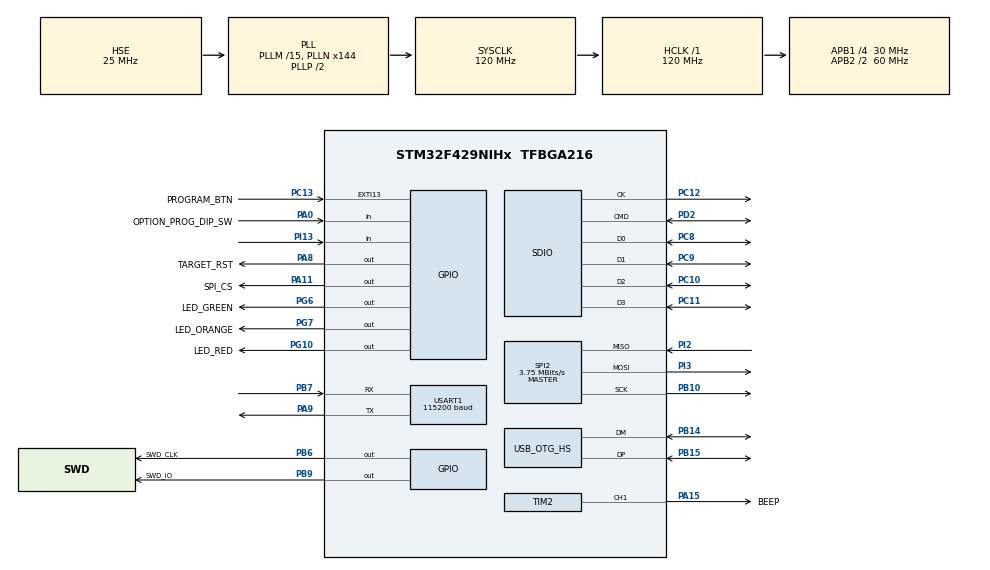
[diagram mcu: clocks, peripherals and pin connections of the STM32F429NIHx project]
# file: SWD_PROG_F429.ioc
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Dma.Request0=SDIO_RX
Dma.Request1=SDIO_TX
Dma.SDIO_RX.0.Direction=DMA_PERIPH_TO_MEMORY
Dma.SDIO_RX.0.FIFOMode=DMA_FIFOMODE_ENABLE
Dma.SDIO_RX.0.FIFOThreshold=DMA_FIFO_THRESHOLD_FULL
Dma.SDIO_RX.0.Instance=DMA2_Stream3
Dma.SDIO_RX.0.MemBurst=DMA_MBURST_INC4
Dma.SDIO_RX.0.MemDataAlignment=DMA_MDATAALIGN_WORD
Dma.SDIO_RX.0.MemInc=DMA_MINC_ENABLE
Dma.SDIO_RX.0.Mode=DMA_PFCTRL
Dma.SDIO_RX.0.PeriphBurst=DMA_PBURST_INC4
Dma.SDIO_RX.0.PeriphDataAlignment=DMA_PDATAALIGN_WORD
Dma.SDIO_RX.0.PeriphInc=DMA_PINC_DISABLE
Dma.SDIO_RX.0.Priority=DMA_PRIORITY_LOW
Dma.SDIO_TX.1.Direction=DMA_MEMORY_TO_PERIPH
Dma.SDIO_TX.1.FIFOMode=DMA_FIFOMODE_ENABLE
Dma.SDIO_TX.1.FIFOThreshold=DMA_FIFO_THRESHOLD_FULL
Dma.SDIO_TX.1.Instance=DMA2_Stream6
Dma.SDIO_TX.1.MemBurst=DMA_MBURST_INC4
Dma.SDIO_TX.1.MemDataAlignment=DMA_MDATAALIGN_WORD
Dma.SDIO_TX.1.MemInc=DMA_MINC_ENABLE
Dma.SDIO_TX.1.Mode=DMA_PFCTRL
Dma.SDIO_TX.1.PeriphBurst=DMA_PBURST_INC4
Dma.SDIO_TX.1.PeriphDataAlignment=DMA_PDATAALIGN_WORD
Dma.SDIO_TX.1.PeriphInc=DMA_PINC_DISABLE
Dma.SDIO_TX.1.Priority=DMA_PRIORITY_LOW
FATFS.BSP.number=1
FATFS.USE_DMA_CODE_SD=1
FATFS._FS_TIMEOUT=5000
FATFS._USE_LFN=2
FATFS0.BSP.STBoard=false
FATFS0.BSP.api=Unknown
FATFS0.BSP.instance=PI13
FATFS0.BSP.ip=GPIO
FATFS0.BSP.mode=Input
FATFS0.BSP.name=Detect_SDIO
FATFS0.BSP.solution=PI13
Mcu.Family=STM32F4
Mcu.Name=STM32F429NIHx
Mcu.Package=TFBGA216
NVIC.DMA2_Stream3_IRQn=true\:6\:0\:true\:false\:true\:false\:true\:true
NVIC.DMA2_Stream6_IRQn=true\:6\:0\:true\:false\:true\:false\:true\:true
NVIC.EXTI15_10_IRQn=true\:15\:0\:true\:false\:true\:true\:true\:true
NVIC.OTG_HS_IRQn=true\:7\:0\:true\:false\:true\:false\:true\:true
NVIC.PriorityGroup=NVIC_PRIORITYGROUP_4
NVIC.SDIO_IRQn=true\:5\:0\:true\:false\:true\:true\:true\:true
NVIC.TIM1_UP_TIM10_IRQn=true\:0\:0\:false\:false\:true\:true\:true\:true
NVIC.USART1_IRQn=true\:0\:0\:false\:false\:true\:true\:true\:true
PA0/WKUP.GPIO_Label=OPTION_PROG_DIP_SW
PA0/WKUP.Signal=GPIO_Input
PA11.GPIO_Label=SPI_CS
PA11.Signal=GPIO_Output
PA13.Mode=Serial_Wire
PA13.Signal=SYS_JTMS-SWDIO
PA14.Mode=Serial_Wire
PA14.Signal=SYS_JTCK-SWCLK
PA15.GPIO_Label=BEEP
PA15.GPIO_Speed=GPIO_SPEED_FREQ_VERY_HIGH
PA15.Signal=S_TIM2_CH1_ETR
PA8.GPIO_Label=TARGET_RST
PA8.Signal=GPIO_Output
PA9.Mode=Asynchronous
PA9.Signal=USART1_TX
PB10.Mode=Full_Duplex_Master
PB10.Signal=SPI2_SCK
PB14.Mode=Device_Only_FS
PB14.Signal=USB_OTG_HS_DM
PB15.Mode=Device_Only_FS
PB15.Signal=USB_OTG_HS_DP
PB6.GPIO_Label=SWD_CLK
PB6.PinState=GPIO_PIN_SET
PB6.Signal=GPIO_Output
PB7.Mode=Asynchronous
PB7.Signal=USART1_RX
PB9.GPIO_Label=SWD_IO
PB9.PinState=GPIO_PIN_SET
PB9.Signal=GPIO_Output
PC10.Mode=SD_4_bits_Wide_bus
PC10.Signal=SDIO_D2
PC11.Mode=SD_4_bits_Wide_bus
PC11.Signal=SDIO_D3
PC12.Mode=SD_4_bits_Wide_bus
PC12.Signal=SDIO_CK
PC13.GPIO_Label=PROGRAM_BTN
PC13.Signal=GPXTI13
PC8.Mode=SD_4_bits_Wide_bus
PC8.Signal=SDIO_D0
PC9.Mode=SD_4_bits_Wide_bus
PC9.Signal=SDIO_D1
PD2.Mode=SD_4_bits_Wide_bus
PD2.Signal=SDIO_CMD
PG10.GPIO_Label=LED_RED
PG10.Signal=GPIO_Output
PG6.GPIO_Label=LED_GREEN
PG6.Signal=GPIO_Output
PG7.GPIO_Label=LED_ORANGE
PG7.Signal=GPIO_Output
PH0/OSC_IN.Mode=HSE-External-Oscillator
PH0/OSC_IN.Signal=RCC_OSC_IN
PH1/OSC_OUT.Mode=HSE-External-Oscillator
PH1/OSC_OUT.Signal=RCC_OSC_OUT
PI13.Signal=GPIO_Input
PI2.GPIO_PuPd=GPIO_PULLUP
PI2.Mode=Full_Duplex_Master
PI2.Signal=SPI2_MISO
PI3.Mode=Full_Duplex_Master
PI3.Signal=SPI2_MOSI
ProjectManager.HeapSize=0x2000
ProjectManager.StackSize=0x2000
ProjectManager.TargetToolchain=STM32CubeIDE
RCC.48MHZClocksFreq_Value=48000000
RCC.AHBFreq_Value=120000000
RCC.APB1CLKDivider=RCC_HCLK_DIV4
RCC.APB1Freq_Value=30000000
RCC.APB1TimFreq_Value=60000000
RCC.APB2CLKDivider=RCC_HCLK_DIV2
RCC.APB2Freq_Value=60000000
RCC.APB2TimFreq_Value=120000000
RCC.CortexFreq_Value=120000000
RCC.HCLKFreq_Value=120000000
RCC.HSE_VALUE=25000000
RCC.HSI_VALUE=16000000
RCC.LSE_VALUE=32768
RCC.PLLM=15
RCC.PLLN=144
RCC.PLLQ=5
RCC.SYSCLKFreq_VALUE=120000000
RCC.SYSCLKSource=RCC_SYSCLKSOURCE_PLLCLK
RCC.VCOOutputFreq_Value=240000000
SDIO.ClockDiv=0
SH.S_TIM2_CH1_ETR.0=TIM2_CH1,PWM Generation1 CH1
SPI2.BaudRatePrescaler=SPI_BAUDRATEPRESCALER_8
SPI2.CLKPolarity=SPI_POLARITY_LOW
SPI2.CalculateBaudRate=3.75 MBits/s
SPI2.Direction=SPI_DIRECTION_2LINES
SPI2.Mode=SPI_MODE_MASTER
SPI2.VirtualType=VM_MASTER
TIM1.Prescaler=120-1
TIM2.AutoReloadPreload=TIM_AUTORELOAD_PRELOAD_ENABLE
TIM2.Channel-PWM\ Generation1\ CH1=TIM_CHANNEL_1
TIM2.Period=1000
TIM2.Prescaler=59
USART1.BaudRate=115200
USART1.OverSampling=UART_OVERSAMPLING_16
USART1.VirtualMode=VM_ASYNC
USB_DEVICE.CLASS_NAME_HS=MSC
USB_DEVICE.VirtualMode-MSC_HS=Msc
USB_DEVICE.VirtualModeHS=Msc_HS
USB_OTG_HS.VirtualMode-Device_Only_FS=Device_Only_FS
VP_FATFS_VS_SDIO.Mode=SDIO
VP_TIM1_VS_ClockSourceINT.Mode=Internal
VP_TIM2_VS_ClockSourceINT.Mode=Internal
VP_USB_DEVICE_VS_USB_DEVICE_MSC_HS.Mode=MSC_HS
board=custom

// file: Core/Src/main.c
/* USER CODE BEGIN Header */
/**
  ******************************************************************************
  * @file           : main.c
  * @brief          : Main program body
  ******************************************************************************
  * @attention
  *
  * Copyright (c) 2024 STMicroelectronics.
  * All rights reserved.
  *
  * This software is licensed under terms that can be found in the LICENSE file
  * in the root directory of this software component.
  * If no LICENSE file comes with this software, it is provided AS-IS.
  *
  ******************************************************************************
  */
/* USER CODE END Header */
#include "main.h"
#include "fatfs.h"
#include "usb_device.h"

/* USER CODE BEGIN Includes */
#include "Target.h"
#include "led.h"
#include "buzzer.h"
#include "w25qxx.h"
/* USER CODE END Includes */

SD_HandleTypeDef hsd;
DMA_HandleTypeDef hdma_sdio_rx;
DMA_HandleTypeDef hdma_sdio_tx;

SPI_HandleTypeDef hspi2;

TIM_HandleTypeDef htim1;
TIM_HandleTypeDef htim2;

UART_HandleTypeDef huart1;

/* USER CODE BEGIN PV */
W25QXX_HandleTypeDef w25qxx; // Handler for all w25qxx operations!

/* USER CODE END PV */

void SystemClock_Config(void);
static void MX_SPI2_Init(void);

/* USER CODE BEGIN 0 */
//#define DEBUG
#ifdef DEBUG
#define DBG(...)    printf(__VA_ARGS__)
#else
#define DBG(...)
#endif
#define PAGE_SIZE 4096
// Dump hex to serial console
void dump_hex(char *header, uint32_t start, uint8_t *buf, uint32_t len) {
    uint32_t i = 0;

    printf("%s\n", header);

    for (i = 0; i < len; ++i) {

        if (i % 16 == 0) {
            printf("0x%08lx: ", start);
        }

        printf("%02x ", buf[i]);

        if ((i + 1) % 16 == 0) {
            printf("\n");
        }

        ++start;
    }
}

void fill_buffer(uint8_t pattern, uint8_t *buf, uint32_t len) {
    switch (pattern) {
    case 0:
        memset(buf, 0, len);
        break;
    case 1:
        memset(buf, 0xaa, len); // 10101010
        break;
    case 2:
        for (uint32_t i = 0; i < len; ++i)
            buf[i] = i % 256;
        break;
    default:
        DBG("Programmer is a moron");
    }
}

uint8_t check_buffer(uint8_t pattern, uint8_t *buf, uint32_t len) {

    uint8_t ret = 1;

    switch (pattern) {
    case 0:
        for (uint32_t i = 0; i < len; ++i) {
            if (buf[i] != 0)
                ret = 0;
        }
        break;
    case 1:
        for (uint32_t i = 0; i < len; ++i) {
            if (buf[i] != 0xaa)
                ret = 0;
        }
        break;
    case 2:
        for (uint32_t i = 0; i < len; ++i) {
            if (buf[i] != i % 256)
                ret = 0;
        }
        break;
    default:
        DBG("Programmer is a moron");
    }

    return ret;
}

uint32_t get_sum(uint8_t *buf, uint32_t len) {
    uint32_t sum = 0;
    for (uint32_t i = 0; i < len; ++i) {
        sum += buf[i];
    }
    return sum;
}

void w25_test(void)
{
	W25QXX_result_t res;

  HAL_Delay(100); // Wait a bit to make sure the w25qxx is ready

  res = w25qxx_init(&w25qxx, &hspi2, SPI_CS_GPIO_Port, SPI_CS_Pin);
  if (res == W25QXX_Ok) {
      printf("W25QXX successfully initialized\n");
      printf("Manufacturer       = 0x%2x\n", w25qxx.manufacturer_id);
      printf("Device             = 0x%4x\n", w25qxx.device_id);
      printf("Block size         = 0x%04lx (%lu)\n", w25qxx.block_size, w25qxx.block_size);
      printf("Block count        = 0x%04lx (%lu)\n", w25qxx.block_count, w25qxx.block_count);
      printf("Sector size        = 0x%04lx (%lu)\n", w25qxx.sector_size, w25qxx.sector_size);
      printf("Sectors per block  = 0x%04lx (%lu)\n", w25qxx.sectors_in_block, w25qxx.sectors_in_block);
      printf("Page size          = 0x%04lx (%lu)\n", w25qxx.page_size, w25qxx.page_size);
      printf("Pages per sector   = 0x%04lx (%lu)\n", w25qxx.pages_in_sector, w25qxx.pages_in_sector);
      printf("Total size (in kB) = 0x%04lx (%lu)\n", (w25qxx.block_count * w25qxx.block_size) / 1024, (w25qxx.block_count * w25qxx.block_size) / 1024);
  } else {
  	printf("Unable to initialize w25qxx\n");
  }

  HAL_Delay(2000);

  uint8_t buf[PAGE_SIZE]; // Buffer the size of a page

  for (uint8_t run = 0; run <= 2; ++run) {

      DBG("\n-------------\nRun %d\n", run);

      DBG("Reading first page");

      res = w25qxx_read(&w25qxx, 0, (uint8_t*) &buf, sizeof(buf));
      if (res == W25QXX_Ok) {
          dump_hex("First page at start", 0, (uint8_t*) &buf, sizeof(buf));
      } else {
          DBG("Unable to read w25qxx\n");
      }

      DBG("Erasing first page");
      if (w25qxx_erase(&w25qxx, 0, sizeof(buf)) == W25QXX_Ok) {
          DBG("Reading first page\n");
          if (w25qxx_read(&w25qxx, 0, (uint8_t*) &buf, sizeof(buf)) == W25QXX_Ok) {
              dump_hex("After erase", 0, (uint8_t*) &buf, sizeof(buf));
          }
      }

      // Create a well known pattern
      fill_buffer(run, buf, sizeof(buf));

      // Write it to device
      DBG("Writing first page\n");
      if (w25qxx_write(&w25qxx, 0, (uint8_t*) &buf, sizeof(buf)) == W25QXX_Ok) {
          // now read it back
          DBG("Reading first page\n");
          if (w25qxx_read(&w25qxx, 0, (uint8_t*) &buf, sizeof(buf)) == W25QXX_Ok) {
              //DBG("  - sum = %lu", get_sum(buf, 256));
              dump_hex("After write", 0, (uint8_t*) &buf, sizeof(buf));
          }
      }
  }

}
/* USER CODE END 0 */

int main(void)
{

  /* MCU Configuration--------------------------------------------------------*/

  /* Reset of all peripherals, Initializes the Flash interface and the Systick. */
  HAL_Init();

  /* Configure the system clock */
  SystemClock_Config();

  /* Initialize all configured peripherals */
  MX_GPIO_Init();
  MX_DMA_Init();
  MX_SDIO_SD_Init();
  MX_FATFS_Init();
  MX_TIM1_Init();
  MX_TIM2_Init();
  MX_USART1_UART_Init();
  MX_USB_DEVICE_Init();
  MX_SPI2_Init();
  /* USER CODE BEGIN 2 */

	/* SWD DAP usDelay(): TIM1 */
	HAL_TIM_Base_Start(&htim1);

	/* buzzer sound timer pwm start: TIM2 */
	HAL_TIM_PWM_Start(&htim2, TIM_CHANNEL_1);

	/* Set programmer LED & Buzzer state */
	Target_LedSet(TARGET_LED_STAT_BOOT);
	Buzzer_SetState(BUZZER_BOOT);

	/* w25 serial flash test */
	//w25_test();
  /* USER CODE END 2 */

  /* Infinite loop */
  while (1)
  {

    /* USER CODE BEGIN 3 */
  	Target_MainLoop();
  }
  /* USER CODE END 3 */
}

void SystemClock_Config(void)
{
  RCC_OscInitTypeDef RCC_OscInitStruct = {0};
  RCC_ClkInitTypeDef RCC_ClkInitStruct = {0};

  /** Configure the main internal regulator output voltage
  */
  __HAL_RCC_PWR_CLK_ENABLE();
  __HAL_PWR_VOLTAGESCALING_CONFIG(PWR_REGULATOR_VOLTAGE_SCALE3);

  /** Initializes the RCC Oscillators according to the specified parameters
  * in the RCC_OscInitTypeDef structure.
  */
  RCC_OscInitStruct.OscillatorType = RCC_OSCILLATORTYPE_HSE;
  RCC_OscInitStruct.HSEState = RCC_HSE_ON;
  RCC_OscInitStruct.PLL.PLLState = RCC_PLL_ON;
  RCC_OscInitStruct.PLL.PLLSource = RCC_PLLSOURCE_HSE;
  RCC_OscInitStruct.PLL.PLLM = 15;
  RCC_OscInitStruct.PLL.PLLN = 144;
  RCC_OscInitStruct.PLL.PLLP = RCC_PLLP_DIV2;
  RCC_OscInitStruct.PLL.PLLQ = 5;
  if (HAL_RCC_OscConfig(&RCC_OscInitStruct) != HAL_OK)
  {
    Error_Handler();
  }

  /** Initializes the CPU, AHB and APB buses clocks
  */
  RCC_ClkInitStruct.ClockType = RCC_CLOCKTYPE_HCLK|RCC_CLOCKTYPE_SYSCLK
                              |RCC_CLOCKTYPE_PCLK1|RCC_CLOCKTYPE_PCLK2;
  RCC_ClkInitStruct.SYSCLKSource = RCC_SYSCLKSOURCE_PLLCLK;
  RCC_ClkInitStruct.AHBCLKDivider = RCC_SYSCLK_DIV1;
  RCC_ClkInitStruct.APB1CLKDivider = RCC_HCLK_DIV4;
  RCC_ClkInitStruct.APB2CLKDivider = RCC_HCLK_DIV2;

  if (HAL_RCC_ClockConfig(&RCC_ClkInitStruct, FLASH_LATENCY_3) != HAL_OK)
  {
    Error_Handler();
  }
}

void MX_SDIO_SD_Init(void)
{

  hsd.Instance = SDIO;
  hsd.Init.ClockEdge = SDIO_CLOCK_EDGE_RISING;
  hsd.Init.ClockBypass = SDIO_CLOCK_BYPASS_DISABLE;
  hsd.Init.ClockPowerSave = SDIO_CLOCK_POWER_SAVE_DISABLE;
  hsd.Init.BusWide = SDIO_BUS_WIDE_4B;
  hsd.Init.HardwareFlowControl = SDIO_HARDWARE_FLOW_CONTROL_DISABLE;
  hsd.Init.ClockDiv = 0;
  /* USER CODE BEGIN SDIO_Init 2 */

  /* I don't know why... */
  hsd.Init.BusWide = SDIO_BUS_WIDE_1B;

  /* USER CODE END SDIO_Init 2 */

}

static void MX_SPI2_Init(void)
{

  /* SPI2 parameter configuration*/
  hspi2.Instance = SPI2;
  hspi2.Init.Mode = SPI_MODE_MASTER;
  hspi2.Init.Direction = SPI_DIRECTION_2LINES;
  hspi2.Init.DataSize = SPI_DATASIZE_8BIT;
  hspi2.Init.CLKPolarity = SPI_POLARITY_LOW;
  hspi2.Init.CLKPhase = SPI_PHASE_1EDGE;
  hspi2.Init.NSS = SPI_NSS_SOFT;
  hspi2.Init.BaudRatePrescaler = SPI_BAUDRATEPRESCALER_8;
  hspi2.Init.FirstBit = SPI_FIRSTBIT_MSB;
  hspi2.Init.TIMode = SPI_TIMODE_DISABLE;
  hspi2.Init.CRCCalculation = SPI_CRCCALCULATION_DISABLE;
  hspi2.Init.CRCPolynomial = 10;
  if (HAL_SPI_Init(&hspi2) != HAL_OK)
  {
    Error_Handler();
  }

}

void MX_TIM1_Init(void)
{

  TIM_ClockConfigTypeDef sClockSourceConfig = {0};
  TIM_MasterConfigTypeDef sMasterConfig = {0};

  htim1.Instance = TIM1;
  htim1.Init.Prescaler = 120-1;
  htim1.Init.CounterMode = TIM_COUNTERMODE_UP;
  htim1.Init.Period = 65535;
  htim1.Init.ClockDivision = TIM_CLOCKDIVISION_DIV1;
  htim1.Init.RepetitionCounter = 0;
  htim1.Init.AutoReloadPreload = TIM_AUTORELOAD_PRELOAD_DISABLE;
  if (HAL_TIM_Base_Init(&htim1) != HAL_OK)
  {
    Error_Handler();
  }
  sClockSourceConfig.ClockSource = TIM_CLOCKSOURCE_INTERNAL;
  if (HAL_TIM_ConfigClockSource(&htim1, &sClockSourceConfig) != HAL_OK)
  {
    Error_Handler();
  }
  sMasterConfig.MasterOutputTrigger = TIM_TRGO_RESET;
  sMasterConfig.MasterSlaveMode = TIM_MASTERSLAVEMODE_DISABLE;
  if (HAL_TIMEx_MasterConfigSynchronization(&htim1, &sMasterConfig) != HAL_OK)
  {
    Error_Handler();
  }

}

void MX_TIM2_Init(void)
{

  TIM_ClockConfigTypeDef sClockSourceConfig = {0};
  TIM_MasterConfigTypeDef sMasterConfig = {0};
  TIM_OC_InitTypeDef sConfigOC = {0};

  htim2.Instance = TIM2;
  htim2.Init.Prescaler = 59;
  htim2.Init.CounterMode = TIM_COUNTERMODE_UP;
  htim2.Init.Period = 1000;
  htim2.Init.ClockDivision = TIM_CLOCKDIVISION_DIV1;
  htim2.Init.AutoReloadPreload = TIM_AUTORELOAD_PRELOAD_ENABLE;
  if (HAL_TIM_Base_Init(&htim2) != HAL_OK)
  {
    Error_Handler();
  }
  sClockSourceConfig.ClockSource = TIM_CLOCKSOURCE_INTERNAL;
  if (HAL_TIM_ConfigClockSource(&htim2, &sClockSourceConfig) != HAL_OK)
  {
    Error_Handler();
  }
  if (HAL_TIM_PWM_Init(&htim2) != HAL_OK)
  {
    Error_Handler();
  }
  sMasterConfig.MasterOutputTrigger = TIM_TRGO_RESET;
  sMasterConfig.MasterSlaveMode = TIM_MASTERSLAVEMODE_DISABLE;
  if (HAL_TIMEx_MasterConfigSynchronization(&htim2, &sMasterConfig) != HAL_OK)
  {
    Error_Handler();
  }
  sConfigOC.OCMode = TIM_OCMODE_PWM1;
  sConfigOC.Pulse = 0;
  sConfigOC.OCPolarity = TIM_OCPOLARITY_HIGH;
  sConfigOC.OCFastMode = TIM_OCFAST_DISABLE;
  if (HAL_TIM_PWM_ConfigChannel(&htim2, &sConfigOC, TIM_CHANNEL_1) != HAL_OK)
  {
    Error_Handler();
  }
  HAL_TIM_MspPostInit(&htim2);

}

void MX_USART1_UART_Init(void)
{

  huart1.Instance = USART1;
  huart1.Init.BaudRate = 115200;
  huart1.Init.WordLength = UART_WORDLENGTH_8B;
  huart1.Init.StopBits = UART_STOPBITS_1;
  huart1.Init.Parity = UART_PARITY_NONE;
  huart1.Init.Mode = UART_MODE_TX_RX;
  huart1.Init.HwFlowCtl = UART_HWCONTROL_NONE;
  huart1.Init.OverSampling = UART_OVERSAMPLING_16;
  if (HAL_UART_Init(&huart1) != HAL_OK)
  {
    Error_Handler();
  }

}

void MX_DMA_Init(void)
{

  /* DMA controller clock enable */
  __HAL_RCC_DMA2_CLK_ENABLE();

  /* DMA interrupt init */
  /* DMA2_Stream3_IRQn interrupt configuration */
  HAL_NVIC_SetPriority(DMA2_Stream3_IRQn, 6, 0);
  HAL_NVIC_EnableIRQ(DMA2_Stream3_IRQn);
  /* DMA2_Stream6_IRQn interrupt configuration */
  HAL_NVIC_SetPriority(DMA2_Stream6_IRQn, 6, 0);
  HAL_NVIC_EnableIRQ(DMA2_Stream6_IRQn);

}

void MX_GPIO_Init(void)
{
  GPIO_InitTypeDef GPIO_InitStruct = {0};

  /* GPIO Ports Clock Enable */
  __HAL_RCC_GPIOC_CLK_ENABLE();
  __HAL_RCC_GPIOA_CLK_ENABLE();
  __HAL_RCC_GPIOB_CLK_ENABLE();
  __HAL_RCC_GPIOG_CLK_ENABLE();
  __HAL_RCC_GPIOI_CLK_ENABLE();
  __HAL_RCC_GPIOD_CLK_ENABLE();
  __HAL_RCC_GPIOH_CLK_ENABLE();

  /*Configure GPIO pin Output Level */
  HAL_GPIO_WritePin(GPIOB, SWD_IO_Pin|SWD_CLK_Pin, GPIO_PIN_SET);

  /*Configure GPIO pin Output Level */
  HAL_GPIO_WritePin(GPIOG, LED_RED_Pin|LED_ORANGE_Pin|LED_GREEN_Pin, GPIO_PIN_RESET);

  /*Configure GPIO pin Output Level */
  HAL_GPIO_WritePin(GPIOA, SPI_CS_Pin|TARGET_RST_Pin, GPIO_PIN_RESET);

  /*Configure GPIO pins : SWD_IO_Pin SWD_CLK_Pin */
  GPIO_InitStruct.Pin = SWD_IO_Pin|SWD_CLK_Pin;
  GPIO_InitStruct.Mode = GPIO_MODE_OUTPUT_PP;
  GPIO_InitStruct.Pull = GPIO_NOPULL;
  GPIO_InitStruct.Speed = GPIO_SPEED_FREQ_LOW;
  HAL_GPIO_Init(GPIOB, &GPIO_InitStruct);

  /*Configure GPIO pins : LED_RED_Pin LED_ORANGE_Pin LED_GREEN_Pin */
  GPIO_InitStruct.Pin = LED_RED_Pin|LED_ORANGE_Pin|LED_GREEN_Pin;
  GPIO_InitStruct.Mode = GPIO_MODE_OUTPUT_PP;
  GPIO_InitStruct.Pull = GPIO_NOPULL;
  GPIO_InitStruct.Speed = GPIO_SPEED_FREQ_LOW;
  HAL_GPIO_Init(GPIOG, &GPIO_InitStruct);

  /*Configure GPIO pins : SPI_CS_Pin TARGET_RST_Pin */
  GPIO_InitStruct.Pin = SPI_CS_Pin|TARGET_RST_Pin;
  GPIO_InitStruct.Mode = GPIO_MODE_OUTPUT_PP;
  GPIO_InitStruct.Pull = GPIO_NOPULL;
  GPIO_InitStruct.Speed = GPIO_SPEED_FREQ_LOW;
  HAL_GPIO_Init(GPIOA, &GPIO_InitStruct);

  /*Configure GPIO pin : PROGRAM_BTN_Pin */
  GPIO_InitStruct.Pin = PROGRAM_BTN_Pin;
  GPIO_InitStruct.Mode = GPIO_MODE_IT_RISING;
  GPIO_InitStruct.Pull = GPIO_NOPULL;
  HAL_GPIO_Init(PROGRAM_BTN_GPIO_Port, &GPIO_InitStruct);

  /*Configure GPIO pin : PI13 */
  GPIO_InitStruct.Pin = GPIO_PIN_13;
  GPIO_InitStruct.Mode = GPIO_MODE_INPUT;
  GPIO_InitStruct.Pull = GPIO_NOPULL;
  HAL_GPIO_Init(GPIOI, &GPIO_InitStruct);

  /*Configure GPIO pin : OPTION_PROG_DIP_SW_Pin */
  GPIO_InitStruct.Pin = OPTION_PROG_DIP_SW_Pin;
  GPIO_InitStruct.Mode = GPIO_MODE_INPUT;
  GPIO_InitStruct.Pull = GPIO_NOPULL;
  HAL_GPIO_Init(OPTION_PROG_DIP_SW_GPIO_Port, &GPIO_InitStruct);

  /* EXTI interrupt init*/
  HAL_NVIC_SetPriority(EXTI15_10_IRQn, 15, 0);
  HAL_NVIC_EnableIRQ(EXTI15_10_IRQn);

}

void Error_Handler(void)
{
  /* USER CODE BEGIN Error_Handler_Debug */
	printf("Error_Handle()\n");
  /* User can add his own implementation to report the HAL error return state */
  __disable_irq();
  while (1)
  {
  }
  /* USER CODE END Error_Handler_Debug */
}
